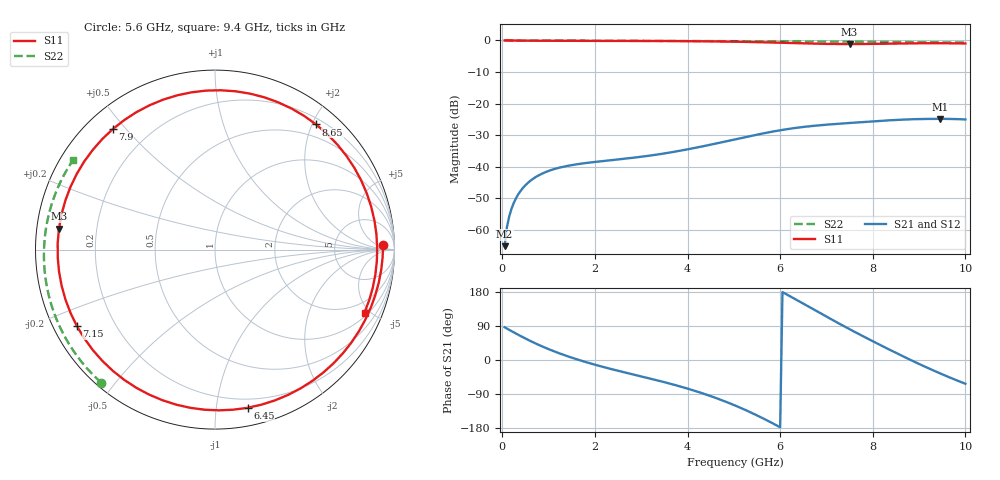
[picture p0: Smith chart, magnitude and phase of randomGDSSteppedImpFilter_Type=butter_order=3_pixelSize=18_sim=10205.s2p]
! freq	dB(S11)	phase(S11)	dB(S12)	phase(S12)
!  dB(S21)	phase(S21)	dB(S22)	phase(S22)
!S-par simulation data
#  GHz  S  DB  R 50
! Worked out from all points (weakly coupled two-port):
!   200 points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, 50 MHz to 10 GHz, reference 50 ohm
!   highest |S21| = -24.81 dB at 9.45 GHz (marker M1); lowest = -65.1 dB at 50 MHz (marker M2)
!   lowest |S11| = -1.1 dB at 7.5 GHz (marker M3), VSWR 15.28, Z = 3.29 + j3.31 ohm
!   |S11| at or under -10 dB: nowhere
!   |S22| runs from -0.7 to 0.0 dB; largest |S21 - S12| = 0
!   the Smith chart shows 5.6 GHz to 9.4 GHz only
!   S11 on the Smith chart (normalised r, x): 5.6 GHz: 27, +10; 6.45 GHz: 0.13, -1.22; 7.15 GHz: 0.07, -0.26; 7.9 GHz: 0.08, +0.46; 8.65 GHz: 0.29, +2.06; 9.4 GHz: 1.21, -4.65
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0.05  -0.00 -5.6  -65.10 86.4  -65.10 86.4  -0.00 -1.3
0.15  -0.02 -16.7  -55.65 79.5  -55.65 79.5  -0.01 -3.9
0.3  -0.04 -33.0  -49.83 69.5  -49.83 69.5  -0.01 -7.8
0.8  -0.09 -81.4  -42.57 39.1  -42.57 39.1  -0.03 -20.7
1.75  -0.12 -146.8  -38.89 -3.5  -38.89 -3.5  -0.06 -44.6
2.55  -0.14 173.3  -37.58 -29.9  -37.58 -29.9  -0.08 -63.9
3.4  -0.17 134.7  -35.98 -55.4  -35.98 -55.4  -0.11 -83.5
4.3  -0.26 90.0  -33.59 -87.0  -33.59 -87.0  -0.15 -103.3
5.05  -0.40 43.7  -31.23 -121.3  -31.23 -121.3  -0.18 -119.2
5.6  -0.57 1.5  -29.51 -152.2  -29.51 -152.2  -0.22 -130.6
6  -0.73 -34.2  -28.42 -177.5  -28.42 -177.5  -0.25 -138.8
6.45  -0.92 -78.3  -27.46 152.1  -27.46 152.1  -0.28 -148.0
6.7  -1.01 -104.0  -27.05 134.9  -27.05 134.9  -0.30 -153.1
7.15  -1.11 -150.9  -26.48 104.3  -26.48 104.3  -0.34 -162.4
7.5  -1.14 172.4  -26.12 81.3  -26.12 81.3  -0.37 -169.7
7.9  -1.11 130.3  -25.71 55.8  -25.71 55.8  -0.41 -178.2
8.35  -1.02 82.6  -25.29 28.0  -25.29 28.0  -0.46 172.0
8.65  -0.95 51.1  -25.05 9.9  -25.05 9.9  -0.49 165.3
9  -0.89 15.3  -24.88 -10.5  -24.88 -10.5  -0.53 157.3
9.4  -0.88 -22.8  -24.81 -32.5  -24.81 -32.5  -0.58 147.8
9.45  -0.88 -27.4  -24.81 -35.1  -24.81 -35.1  -0.59 146.6
10  -0.95 -73.1  -25.00 -62.7  -25.00 -62.7  -0.66 132.8
